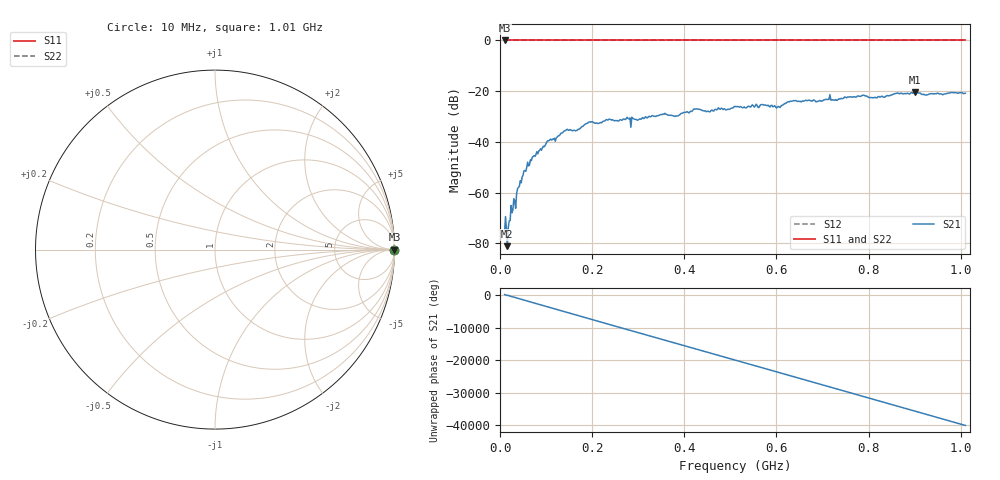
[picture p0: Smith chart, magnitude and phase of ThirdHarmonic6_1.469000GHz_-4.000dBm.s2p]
! 8/16/2025 5:06:44 PM
! C:\ANRITSUVNA\TEMP\TEMP.S2P
! CHANNEL.1
! TR.MEASUREMENT
! RAW.DATA
! RF.CORRECTION.OFF
! AVERAGING.OFF
! IF.BANDWIDTH: 5KHZ
! SWEEPTYPE:  FREQ.SWEEP(Linear)
! Reference Plane Port Info
! PORT:  PORT1  PORT2
! DISTANCE:  0  m  0  m
! TIME:  0  s  0  s
! PHASE.OFFSET:  0  deg.  0  deg.
! LOSS:  0  dB  0  dB
! REF.LOSS:  0  dB  0  dB
! REF.FREQ:  0  Hz  0  Hz
! Power Info
! POWER:  -20  dBm  -20  dBm
! EFF.POWER:  -20  dBm  -20  dBm
! SOURCE.ATTEN:  0  dB  0  dB
! TEST.ATTEN:  0  dB  0  dB
# GHZ S RI R 50.0
! FREQ.GHZ  S11RE  S11IM  S21RE  S21IM  S12RE  S12IM  S22RE  S22IM
!; PortSelection: Port_12
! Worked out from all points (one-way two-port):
!   501 points, 10 MHz to 1.01 GHz, reference 50 ohm
!   highest |S21| = -20.47 dB at 900 MHz (marker M1); lowest = -81.2 dB at 16 MHz (marker M2)
!   lowest |S11| = 0.0 dB at 10 MHz (marker M3)
!   |S11| at or under -10 dB: nowhere
!   |S22| runs from 0.0 to 0.0 dB; largest |S21 - S12| = 1.1
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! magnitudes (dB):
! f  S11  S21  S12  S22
! 10 MHz  0.0  -75.2  0.0  0.0
! 16 MHz  0.0  -81.2  0.0  0.0
! 18 MHz  0.0  -73.7  0.0  0.0
! 28 MHz  0.0  -66.7  0.0  0.0
! 30 MHz  0.0  -62.4  0.0  0.0
! 40 MHz  0.0  -58.0  0.0  0.0
! 56 MHz  0.0  -51.6  0.0  0.0
! 70 MHz  0.0  -46.1  0.0  0.0
! 106 MHz  0.0  -39.6  0.0  0.0
! 142 MHz  0.0  -35.6  0.0  0.0
! 178 MHz  0.0  -33.9  0.0  0.0
! 196 MHz  0.0  -32.1  0.0  0.0
! 344 MHz  0.0  -29.6  0.0  0.0
! 382 MHz  0.0  -29.7  0.0  0.0
! 424 MHz  0.0  -27.1  0.0  0.0
! 510 MHz  0.0  -26.0  0.0  0.0
! 604 MHz  0.0  -26.0  0.0  0.0
! 634 MHz  0.0  -23.9  0.0  0.0
! 678 MHz  0.0  -23.9  0.0  0.0
! 844 MHz  0.0  -21.9  0.0  0.0
! 900 MHz  0.0  -20.5  0.0  0.0
! 1.01 GHz  0.0  -20.8  0.0  0.0
